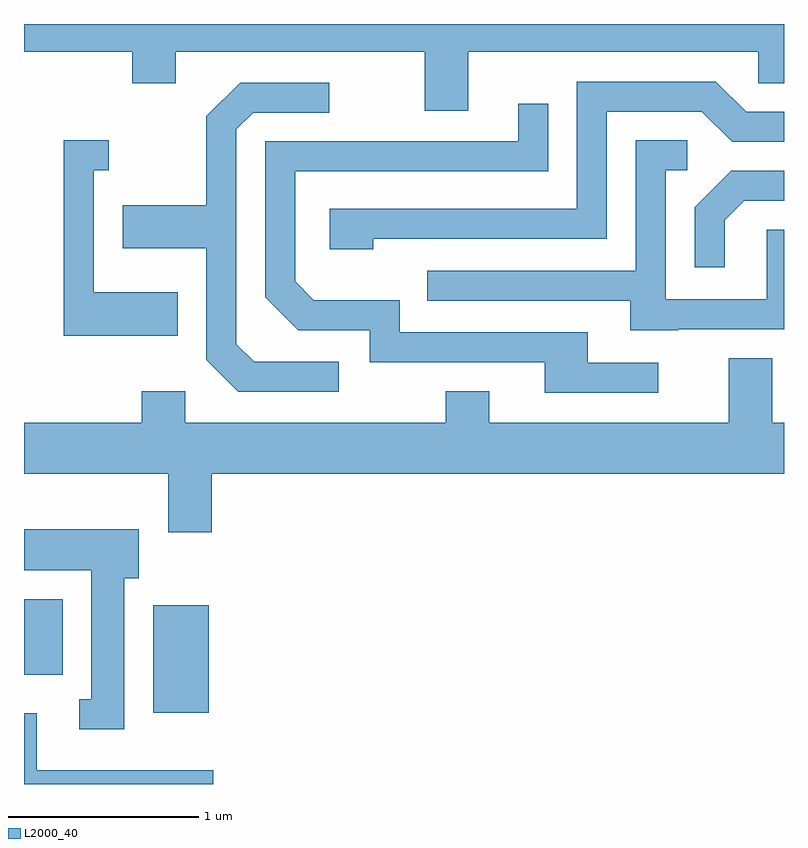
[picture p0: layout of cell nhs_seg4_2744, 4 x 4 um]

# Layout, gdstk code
import gdstk
lib = gdstk.Library(unit=1e-6, precision=1e-09)
def R(c, l, rs):  # rectangles x0, y0, x1, y1
    for r in rs: c.add(gdstk.rectangle(r[:2], r[2:], *l))
def P(c, l, *ps):  # polygons
    for p in ps: c.add(gdstk.Polygon(p, *l))
L2000_40 = (2000, 40)

nhs_seg4_2744 = lib.new_cell('nhs_seg4_2744')
R(nhs_seg4_2744, L2000_40, [(266.291,1302.356,266.584,1302.924), (265.611,1302.556,265.814,1302.954)])
P(nhs_seg4_2744, L2000_40, [(267.949,1305.836),(269.476,1305.836),(269.476,1305.671),(269.611,1305.671),(269.611,1305.982),(265.611,1305.982),(265.611,1305.836),(266.181,1305.836),(266.181,1305.671),(266.409,1305.671),(266.409,1305.836),(267.721,1305.836),(267.721,1305.526),(267.949,1305.526)],
  [(267.449,1304.851),(268.679,1304.851),(268.679,1305.521),(269.179,1305.521),(269.339,1305.361),(269.611,1305.361),(269.611,1305.519),(269.412,1305.519),(269.252,1305.679),(268.521,1305.679),(268.521,1305.009),(267.221,1305.009),(267.221,1304.796),(267.449,1304.796)],
  [(267.268,1304.204),(266.822,1304.204),(266.729,1304.297),(266.729,1305.429),(266.817,1305.516),(267.218,1305.516),(267.218,1305.674),(266.749,1305.674),(266.571,1305.497),(266.571,1305.029),(266.131,1305.029),(266.131,1304.801),(266.571,1304.801),(266.571,1304.214),(266.739,1304.046),(267.268,1304.046)],
  [(268.948,1304.199),(268.579,1304.199),(268.579,1304.359),(267.589,1304.359),(267.589,1304.529),(267.137,1304.529),(267.039,1304.627),(267.039,1305.206),(268.369,1305.206),(268.369,1305.563),(268.211,1305.563),(268.211,1305.364),(266.881,1305.364),(266.881,1304.544),(267.054,1304.371),(267.431,1304.371),(267.431,1304.201),(268.351,1304.201),(268.351,1304.041),(268.948,1304.041)],
  [(269.055,1304.376),(269.611,1304.376),(269.611,1304.899),(269.521,1304.899),(269.521,1304.534),(268.989,1304.534),(268.989,1305.211),(269.103,1305.211),(269.103,1305.369),(268.831,1305.369),(268.831,1304.684),(267.733,1304.684),(267.733,1304.526),(268.801,1304.526),(268.801,1304.371),(269.055,1304.371)],
  [(266.419,1304.569),(265.979,1304.569),(265.979,1305.211),(266.058,1305.211),(266.058,1305.369),(265.821,1305.369),(265.821,1304.341),(266.419,1304.341)],
  [(269.299,1304.949),(269.402,1305.051),(269.611,1305.051),(269.611,1305.209),(269.334,1305.209),(269.141,1305.017),(269.141,1304.703),(269.299,1304.703)],
  [(266.599,1303.616),(269.611,1303.616),(269.611,1303.884),(269.549,1303.884),(269.549,1304.224),(269.321,1304.224),(269.321,1303.884),(268.059,1303.884),(268.059,1304.049),(267.831,1304.049),(267.831,1303.884),(266.459,1303.884),(266.459,1304.049),(266.231,1304.049),(266.231,1303.884),(265.611,1303.884),(265.611,1303.616),(266.371,1303.616),(266.371,1303.306),(266.599,1303.306)],
  [(266.139,1303.066),(266.214,1303.066),(266.214,1303.324),(265.611,1303.324),(265.611,1303.106),(265.966,1303.106),(265.966,1302.429),(265.903,1302.429),(265.903,1302.271),(266.139,1302.271)],
  [(266.608,1302.054),(265.679,1302.054),(265.679,1302.354),(265.611,1302.354),(265.611,1301.982),(266.608,1301.982)])

lib.write_gds('nhs_seg4_2744.gds')
